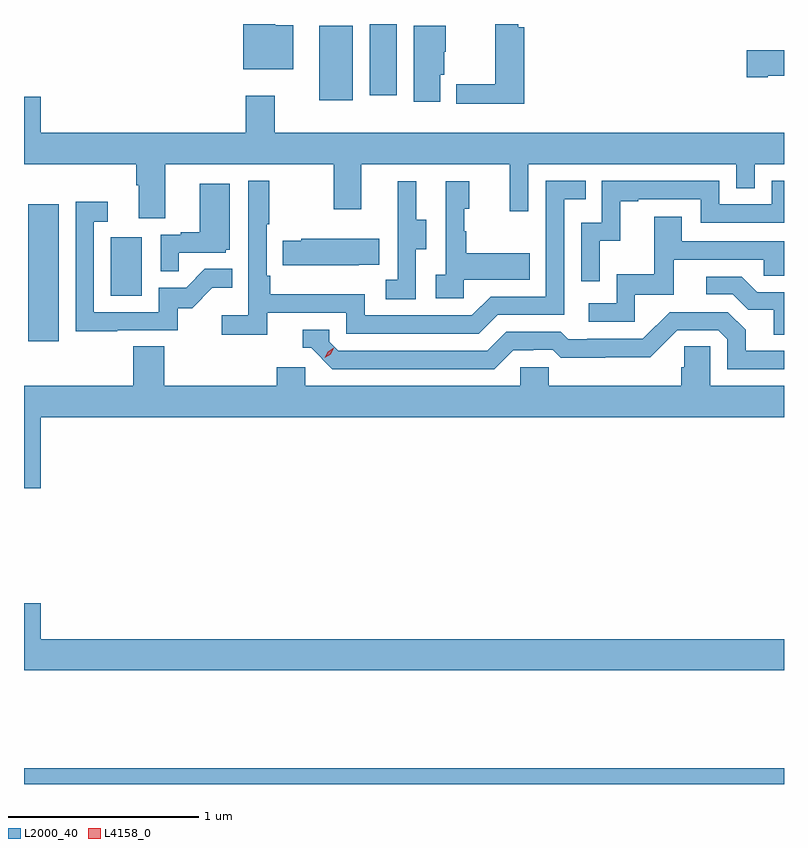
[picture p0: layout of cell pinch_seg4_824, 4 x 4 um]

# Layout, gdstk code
import gdstk
lib = gdstk.Library(unit=1e-6, precision=1e-09)
def R(c, l, rs):  # rectangles x0, y0, x1, y1
    for r in rs: c.add(gdstk.rectangle(r[:2], r[2:], *l))
def P(c, l, *ps):  # polygons
    for p in ps: c.add(gdstk.Polygon(p, *l))
L2000_40 = (2000, 40)
L4158_0 = (4158, 0)

pinch_seg4_824 = lib.new_cell('pinch_seg4_824')
R(pinch_seg4_824, L2000_40, [(824.425,794.889,828.425,794.972), (824.447,797.22,824.608,797.941), (824.882,797.46,825.046,797.767), (825.98,798.488,826.156,798.88), (826.244,798.513,826.387,798.889)])
P(pinch_seg4_824, L2000_40, [(825.841,798.883),(825.748,798.883),(825.748,798.889),(825.578,798.889),(825.578,798.65),(825.841,798.65)],
  [(827.057,798.871),(827.027,798.871),(827.027,798.889),(826.906,798.889),(826.906,798.572),(826.701,798.572),(826.701,798.47),(827.057,798.47)],
  [(826.615,798.621),(826.636,798.621),(826.636,798.744),(826.645,798.744),(826.645,798.88),(826.475,798.88),(826.475,798.48),(826.615,798.48)],
  [(828.34,798.617),(828.425,798.617),(828.425,798.752),(828.228,798.752),(828.228,798.61),(828.34,798.61)],
  [(825.169,798.152),(826.054,798.152),(826.054,797.913),(826.201,797.913),(826.201,798.152),(826.982,798.152),(826.982,797.904),(827.079,797.904),(827.079,798.152),(828.174,798.152),(828.174,798.025),(828.27,798.025),(828.27,798.152),(828.425,798.152),(828.425,798.316),(825.745,798.316),(825.745,798.511),(825.593,798.511),(825.593,798.316),(824.512,798.316),(824.512,798.505),(824.425,798.505),(824.425,798.152),(825.017,798.152),(825.017,798.04),(825.029,798.04),(825.029,797.866),(825.169,797.866)],
  [(825.704,797.37),(826.122,797.37),(826.122,797.259),(826.819,797.259),(826.918,797.358),(827.268,797.358),(827.268,797.967),(827.381,797.967),(827.381,798.063),(827.172,798.063),(827.172,797.454),(826.881,797.454),(826.782,797.355),(826.218,797.355),(826.218,797.467),(825.722,797.467),(825.722,797.563),(825.702,797.563),(825.702,797.836),(825.715,797.836),(825.715,798.064),(825.606,798.064),(825.606,797.356),(825.465,797.356),(825.465,797.254),(825.704,797.254)],
  [(827.454,797.747),(827.564,797.747),(827.564,797.955),(827.659,797.955),(827.659,797.967),(827.988,797.967),(827.988,797.844),(828.425,797.844),(828.425,798.063),(828.36,798.063),(828.36,797.94),(828.084,797.94),(828.084,798.063),(827.466,798.063),(827.466,797.844),(827.358,797.844),(827.358,797.535),(827.454,797.535)],
  [(826.74,797.543),(827.087,797.543),(827.087,797.683),(826.753,797.683),(826.753,797.798),(826.743,797.798),(826.743,797.916),(826.768,797.916),(826.768,798.061),(826.644,798.061),(826.644,797.57),(826.593,797.57),(826.593,797.445),(826.74,797.445)],
  [(826.488,797.704),(826.543,797.704),(826.543,797.859),(826.489,797.859),(826.489,798.061),(826.391,798.061),(826.391,797.847),(826.392,797.847),(826.392,797.543),(826.329,797.543),(826.329,797.44),(826.488,797.44)],
  [(825.239,797.685),(825.486,797.685),(825.486,797.7),(825.508,797.7),(825.508,798.049),(825.35,798.049),(825.35,797.794),(825.251,797.794),(825.251,797.781),(825.144,797.781),(825.144,797.587),(825.239,797.587)],
  [(824.915,797.277),(825.234,797.277),(825.234,797.394),(825.31,797.394),(825.417,797.501),(825.521,797.501),(825.521,797.6),(825.377,797.6),(825.279,797.502),(825.135,797.502),(825.135,797.373),(824.793,797.373),(824.793,797.847),(824.866,797.847),(824.866,797.953),(824.697,797.953),(824.697,797.272),(824.915,797.272)],
  [(827.64,797.463),(827.845,797.463),(827.845,797.649),(828.319,797.649),(828.319,797.565),(828.425,797.565),(828.425,797.745),(827.887,797.745),(827.887,797.875),(827.743,797.875),(827.743,797.572),(827.544,797.572),(827.544,797.418),(827.397,797.418),(827.397,797.322),(827.64,797.322)],
  [(826.187,797.621),(826.295,797.621),(826.295,797.758),(825.885,797.758),(825.885,797.748),(825.787,797.748),(825.787,797.618),(826.187,797.618)],
  [(828.425,797.478),(828.283,797.478),(828.202,797.559),(828.015,797.559),(828.015,797.466),(828.156,797.466),(828.236,797.386),(828.371,797.386),(828.371,797.254),(828.425,797.254)],
  [(826.999,797.172),(827.106,797.172),(827.106,797.175),(827.209,797.175),(827.251,797.133),(827.484,797.133),(827.484,797.135),(827.72,797.135),(827.862,797.277),(828.078,797.277),(828.126,797.229),(828.126,797.073),(828.425,797.073),(828.425,797.169),(828.223,797.169),(828.223,797.279),(828.129,797.373),(827.823,797.373),(827.682,797.232),(827.389,797.232),(827.389,797.229),(827.29,797.229),(827.251,797.268),(826.962,797.268),(826.863,797.169),(826.08,797.169),(826.032,797.217),(826.032,797.28),(825.893,797.28),(825.893,797.184),(825.936,797.184),(826.047,797.073),(826.9,797.073)],
  [(824.512,796.82),(828.425,796.82),(828.425,796.984),(828.036,796.984),(828.036,797.192),(827.899,797.192),(827.899,797.082),(827.885,797.082),(827.885,796.984),(827.187,796.984),(827.187,797.082),(827.037,797.082),(827.037,796.984),(825.906,796.984),(825.906,797.082),(825.755,797.082),(825.755,796.984),(825.164,796.984),(825.164,797.192),(824.999,797.192),(824.999,796.984),(824.425,796.984),(824.425,796.446),(824.512,796.446)],
  [(828.425,795.652),(824.512,795.652),(824.512,795.841),(824.425,795.841),(824.425,795.488),(828.425,795.488)])
P(pinch_seg4_824, L4158_0, [(826.008,797.132),(826.008,797.132),(826.024,797.164),(826.055,797.184),(826.055,797.184),(826.055,797.184),(826.039,797.151),(826.008,797.132)])

lib.write_gds('pinch_seg4_824.gds')
